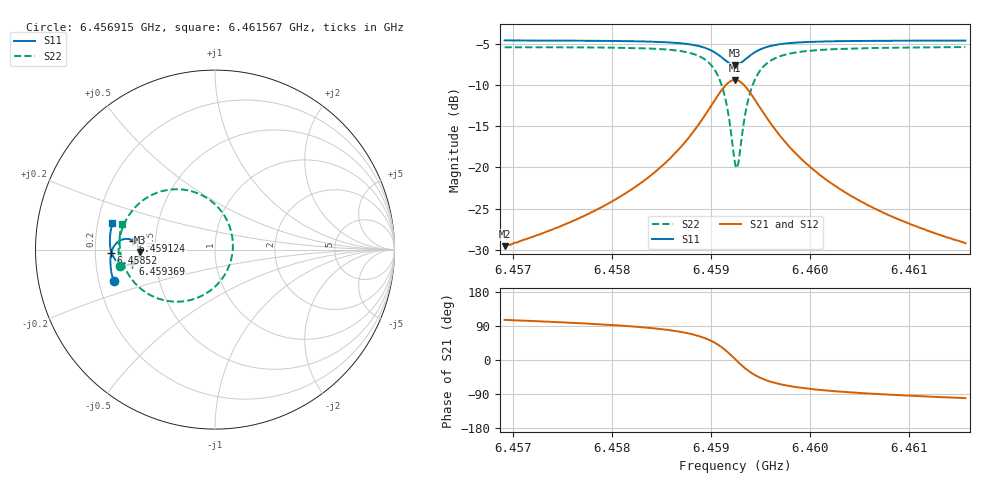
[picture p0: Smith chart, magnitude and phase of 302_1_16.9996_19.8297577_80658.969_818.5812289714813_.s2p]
#  HZ  S  RI  R  50.00
! Rohde & Schwarz Vector Network Analyzer
! Rohde-Schwarz,ZNB20-2Port,1311601062101988,3.16
! Created: UTC 3/20/2024, 11:05:38 PM
! freq[Hz]  re:S11  im:S11  re:S21  im:S21  re:S12  im:S12  re:S22  im:S22
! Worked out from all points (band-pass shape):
!   401 points, 6.456915 GHz to 6.461567 GHz, reference 50 ohm
!   highest |S21| = -9.35 dB at 6.459241 GHz (marker M1); lowest = -29.6 dB at 6.456915 GHz (marker M2)
!   |S21| within 3 dB of the highest: 6.459008 GHz to 6.459473 GHz (465.1 kHz wide, 0.0072 % of centre)
!   lowest |S11| = -7.5 dB at 6.459241 GHz (marker M3), VSWR 2.45, Z = 20.4 - j0.634 ohm
!   |S11| at or under -10 dB: nowhere
!   |S22| runs from -20.0 to -5.4 dB; largest |S21 - S12| = 0.013
!   S11 on the Smith chart (normalised r, x): 6.456915 GHz: 0.26, -0.14; 6.45852 GHz: 0.27, -0.01; 6.459124 GHz: 0.37, +0.05; 6.459369 GHz: 0.37, -0.07; 6.461567 GHz: 0.26, +0.12
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6.4569149e9  -0.565 -0.1772  -0.00911 0.0319  -0.00742 0.0319  -0.5311 -0.0888
6.457694e9  -0.5798 -0.1094  -0.00607 0.0496  -0.00338 0.0491  -0.5373 0.00131
6.4581243e9  -0.5831 -0.0665  -0.000165 0.069  0.00311 0.0676  -0.5298 0.0683
6.4584732e9  -0.5797 -0.0251  0.0135 0.0976  0.0175 0.0949  -0.5053 0.1454
6.4585197e9  -0.5782 -0.0186  0.0168 0.1029  0.0208 0.0999  -0.4989 0.1585
6.458729e9  -0.5663 0.0131  0.0425 0.1342  0.0466 0.1295  -0.4509 0.2293
6.4588802e9  -0.5452 0.0395  0.0844 0.1643  0.0879 0.158  -0.3737 0.2928
6.4590314e9  -0.4994 0.0593  0.1753 0.1833  0.1763 0.176  -0.2086 0.3364
6.4591244e9  -0.4553 0.0494  0.2641 0.153  0.2644 0.1468  -0.045 0.2872
6.4591709e9  -0.4342 0.031  0.3073 0.1106  0.3085 0.1052  0.0361 0.2123
6.4592407e9  -0.4194 -0.0128  0.3403 0.0153  0.3436 0.0082  0.0996 0.0361
6.4592523e9  -0.4198 -0.0207  0.3402 -0.00241  0.3437 -0.00998  0.0994 0.00316
6.4592756e9  -0.4232 -0.0362  0.3349 -0.0366  0.3384 -0.0457  0.0885 -0.0611
6.4593337e9  -0.4438 -0.067  0.2973 -0.1076  0.2985 -0.1197  0.0131 -0.1938
6.4593686e9  -0.4604 -0.0781  0.2656 -0.1362  0.2646 -0.1491  -0.0508 -0.245
6.4594616e9  -0.5032 -0.0849  0.1821 -0.1672  0.1761 -0.1783  -0.2158 -0.2904
6.4596128e9  -0.5469 -0.0645  0.0954 -0.154  0.0872 -0.1599  -0.3799 -0.2421
6.4597756e9  -0.5683 -0.037  0.0512 -0.1265  0.0436 -0.1293  -0.4589 -0.1715
6.4600198e9  -0.5811 -0.00151  0.0224 -0.0956  0.0166 -0.0963  -0.5062 -0.0907
6.4603455e9  -0.5857 0.0372  0.00714 -0.0707  0.00303 -0.0703  -0.5268 -0.0168
6.460799e9  -0.5839 0.0827  -0.00129 -0.051  -0.00409 -0.0503  -0.5317 0.0554
6.4615665e9  -0.5716 0.1505  -0.00645 -0.034  -0.008 -0.0332  -0.5201 0.145
